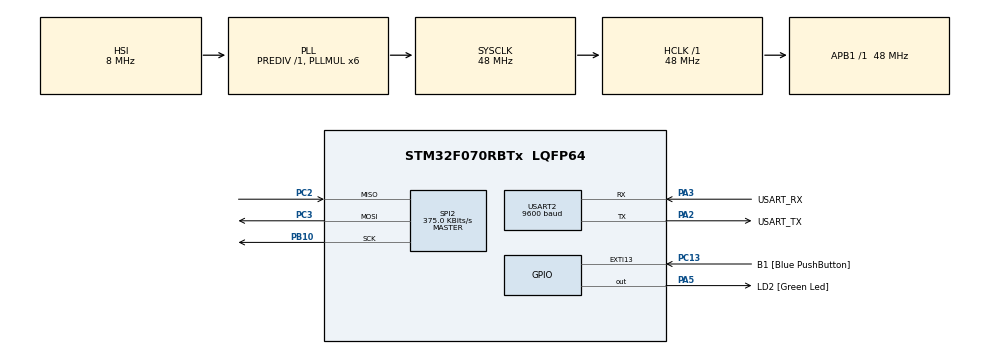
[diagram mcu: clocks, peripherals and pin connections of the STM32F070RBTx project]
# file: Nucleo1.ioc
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Mcu.Family=STM32F0
Mcu.Name=STM32F070RBTx
Mcu.Package=LQFP64
PA13.GPIO_Label=TMS
PA13.Mode=Serial_Wire
PA13.Signal=SYS_SWDIO
PA14.Mode=Serial_Wire
PA14.Signal=SYS_SWCLK
PA2.GPIO_Label=USART_TX
PA2.Mode=Asynchronous
PA2.Signal=USART2_TX
PA3.GPIO_Label=USART_RX
PA3.Mode=Asynchronous
PA3.Signal=USART2_RX
PA5.GPIO_Label=LD2 [Green Led]
PA5.Signal=GPIO_Output
PB10.Mode=Full_Duplex_Master
PB10.Signal=SPI2_SCK
PC13.GPIO_Label=B1 [Blue PushButton]
PC13.GPIO_ModeDefaultEXTI=GPIO_MODE_IT_FALLING
PC13.Signal=GPXTI13
PC14-OSC32_IN.GPIO_Label=RCC_OSC32_IN
PC14-OSC32_IN.Mode=LSE-External-Oscillator
PC14-OSC32_IN.Signal=RCC_OSC32_IN
PC15-OSC32_OUT.GPIO_Label=RCC_OSC32_OUT
PC15-OSC32_OUT.Mode=LSE-External-Oscillator
PC15-OSC32_OUT.Signal=RCC_OSC32_OUT
PC2.Mode=Full_Duplex_Master
PC2.Signal=SPI2_MISO
PC3.Mode=Full_Duplex_Master
PC3.Signal=SPI2_MOSI
PF0-OSC_IN.GPIO_Label=RCC_OSC_IN
PF0-OSC_IN.Signal=RCC_OSC_IN
ProjectManager.HeapSize=0x200
ProjectManager.StackSize=0x400
ProjectManager.TargetToolchain=EWARM V8.32
RCC.AHBFreq_Value=48000000
RCC.APB1Freq_Value=48000000
RCC.APB1TimFreq_Value=48000000
RCC.HCLKFreq_Value=48000000
RCC.PLLMUL=RCC_PLL_MUL6
RCC.SYSCLKFreq_VALUE=48000000
RCC.SYSCLKSource=RCC_SYSCLKSOURCE_PLLCLK
SPI2.BaudRatePrescaler=SPI_BAUDRATEPRESCALER_128
SPI2.CalculateBaudRate=375.0 KBits/s
SPI2.Direction=SPI_DIRECTION_2LINES
SPI2.Mode=SPI_MODE_MASTER
SPI2.VirtualType=VM_MASTER
USART2.BaudRate=9600
USART2.VirtualMode-Asynchronous=VM_ASYNC
board=NUCLEO-F070RB

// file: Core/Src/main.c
/* USER CODE BEGIN Header */
/**
  ******************************************************************************
  * @file           : main.c
  * @brief          : Main program body
  ******************************************************************************
  * @attention
  *
  * Copyright (c) 2023 STMicroelectronics.
  * All rights reserved.
  *
  * This software is licensed under terms that can be found in the LICENSE file
  * in the root directory of this software component.
  * If no LICENSE file comes with this software, it is provided AS-IS.
  *
  ******************************************************************************
  */
/* USER CODE END Header */
#include "main.h"

SPI_HandleTypeDef hspi2;

UART_HandleTypeDef huart2;

/* USER CODE BEGIN PV */
// Global flags
volatile uint8_t spi_xmit_flag = 0;
volatile uint8_t spi_recv_flag = 0;

/* USER CODE END PV */

void SystemClock_Config(void);
static void MX_GPIO_Init(void);
static void MX_SPI2_Init(void);
static void MX_USART2_UART_Init(void);
/* USER CODE BEGIN PFP */
// This is called when SPI transmit is done
/* USER CODE END PFP */

int main(void)
{

  /* MCU Configuration--------------------------------------------------------*/

  /* Reset of all peripherals, Initializes the Flash interface and the Systick. */
  HAL_Init();

  /* Configure the system clock */
  SystemClock_Config();

  /* Initialize all configured peripherals */
  MX_GPIO_Init();
  MX_SPI2_Init();
  MX_USART2_UART_Init();
  /* USER CODE BEGIN 2 */
  HAL_StatusTypeDef UARTRcvStat ;
  HAL_StatusTypeDef SPIRcvStat ;
  uint8_t buffer[10] = "Hello!\n" ;
  uint8_t inputDataUart[20] ;
  uint8_t inputDataSpi[20] ;
  HAL_UART_Transmit(&huart2, buffer, sizeof(buffer), 100) ;  // send start data

  /* USER CODE END 2 */

  /* Infinite loop */
  /* USER CODE BEGIN WHILE */
  while (1)
  {
    UARTRcvStat = HAL_UART_Receive(&huart2, inputDataUart, 1, 100) ;  // receive data
    SPIRcvStat = HAL_SPI_Receive(&hspi2, inputDataSpi, 1, 100);
    if (UARTRcvStat == HAL_OK)
    {  // receive check
      HAL_SPI_Transmit(&hspi2, inputDataUart, 1, 100) ;  // send received data
    }
    if (SPIRcvStat == HAL_OK)
    {
      HAL_UART_Transmit(&huart2, inputDataSpi, 1, 100) ;  // send received data
    }
    /* USER CODE END WHILE */

    /* USER CODE BEGIN 3 */
    HAL_SPI_Transmit(&hspi2, "s", 1, 100) ;
  }
  /* USER CODE END 3 */
}

void SystemClock_Config(void)
{
  RCC_OscInitTypeDef RCC_OscInitStruct = {0};
  RCC_ClkInitTypeDef RCC_ClkInitStruct = {0};

  /** Initializes the RCC Oscillators according to the specified parameters
  * in the RCC_OscInitTypeDef structure.
  */
  RCC_OscInitStruct.OscillatorType = RCC_OSCILLATORTYPE_HSI;
  RCC_OscInitStruct.HSIState = RCC_HSI_ON;
  RCC_OscInitStruct.HSICalibrationValue = RCC_HSICALIBRATION_DEFAULT;
  RCC_OscInitStruct.PLL.PLLState = RCC_PLL_ON;
  RCC_OscInitStruct.PLL.PLLSource = RCC_PLLSOURCE_HSI;
  RCC_OscInitStruct.PLL.PLLMUL = RCC_PLL_MUL6;
  RCC_OscInitStruct.PLL.PREDIV = RCC_PREDIV_DIV1;
  if (HAL_RCC_OscConfig(&RCC_OscInitStruct) != HAL_OK)
  {
    Error_Handler();
  }

  /** Initializes the CPU, AHB and APB buses clocks
  */
  RCC_ClkInitStruct.ClockType = RCC_CLOCKTYPE_HCLK|RCC_CLOCKTYPE_SYSCLK
                              |RCC_CLOCKTYPE_PCLK1;
  RCC_ClkInitStruct.SYSCLKSource = RCC_SYSCLKSOURCE_PLLCLK;
  RCC_ClkInitStruct.AHBCLKDivider = RCC_SYSCLK_DIV1;
  RCC_ClkInitStruct.APB1CLKDivider = RCC_HCLK_DIV1;

  if (HAL_RCC_ClockConfig(&RCC_ClkInitStruct, FLASH_LATENCY_1) != HAL_OK)
  {
    Error_Handler();
  }
}

static void MX_SPI2_Init(void)
{

  /* SPI2 parameter configuration*/
  hspi2.Instance = SPI2;
  hspi2.Init.Mode = SPI_MODE_MASTER;
  hspi2.Init.Direction = SPI_DIRECTION_2LINES;
  hspi2.Init.DataSize = SPI_DATASIZE_4BIT;
  hspi2.Init.CLKPolarity = SPI_POLARITY_LOW;
  hspi2.Init.CLKPhase = SPI_PHASE_1EDGE;
  hspi2.Init.NSS = SPI_NSS_SOFT;
  hspi2.Init.BaudRatePrescaler = SPI_BAUDRATEPRESCALER_128;
  hspi2.Init.FirstBit = SPI_FIRSTBIT_MSB;
  hspi2.Init.TIMode = SPI_TIMODE_DISABLE;
  hspi2.Init.CRCCalculation = SPI_CRCCALCULATION_DISABLE;
  hspi2.Init.CRCPolynomial = 7;
  hspi2.Init.CRCLength = SPI_CRC_LENGTH_DATASIZE;
  hspi2.Init.NSSPMode = SPI_NSS_PULSE_ENABLE;
  if (HAL_SPI_Init(&hspi2) != HAL_OK)
  {
    Error_Handler();
  }

}

static void MX_USART2_UART_Init(void)
{

  huart2.Instance = USART2;
  huart2.Init.BaudRate = 9600;
  huart2.Init.WordLength = UART_WORDLENGTH_8B;
  huart2.Init.StopBits = UART_STOPBITS_1;
  huart2.Init.Parity = UART_PARITY_NONE;
  huart2.Init.Mode = UART_MODE_TX_RX;
  huart2.Init.HwFlowCtl = UART_HWCONTROL_NONE;
  huart2.Init.OverSampling = UART_OVERSAMPLING_16;
  huart2.Init.OneBitSampling = UART_ONE_BIT_SAMPLE_DISABLE;
  huart2.AdvancedInit.AdvFeatureInit = UART_ADVFEATURE_NO_INIT;
  if (HAL_UART_Init(&huart2) != HAL_OK)
  {
    Error_Handler();
  }

}

static void MX_GPIO_Init(void)
{
  GPIO_InitTypeDef GPIO_InitStruct = {0};

  /* GPIO Ports Clock Enable */
  __HAL_RCC_GPIOC_CLK_ENABLE();
  __HAL_RCC_GPIOF_CLK_ENABLE();
  __HAL_RCC_GPIOA_CLK_ENABLE();
  __HAL_RCC_GPIOB_CLK_ENABLE();

  /*Configure GPIO pin Output Level */
  HAL_GPIO_WritePin(LD2_GPIO_Port, LD2_Pin, GPIO_PIN_RESET);

  /*Configure GPIO pin : B1_Pin */
  GPIO_InitStruct.Pin = B1_Pin;
  GPIO_InitStruct.Mode = GPIO_MODE_IT_FALLING;
  GPIO_InitStruct.Pull = GPIO_NOPULL;
  HAL_GPIO_Init(B1_GPIO_Port, &GPIO_InitStruct);

  /*Configure GPIO pin : LD2_Pin */
  GPIO_InitStruct.Pin = LD2_Pin;
  GPIO_InitStruct.Mode = GPIO_MODE_OUTPUT_PP;
  GPIO_InitStruct.Pull = GPIO_NOPULL;
  GPIO_InitStruct.Speed = GPIO_SPEED_FREQ_LOW;
  HAL_GPIO_Init(LD2_GPIO_Port, &GPIO_InitStruct);

}

void Error_Handler(void)
{
  __disable_irq();
  while (1)
  {
  }
}
